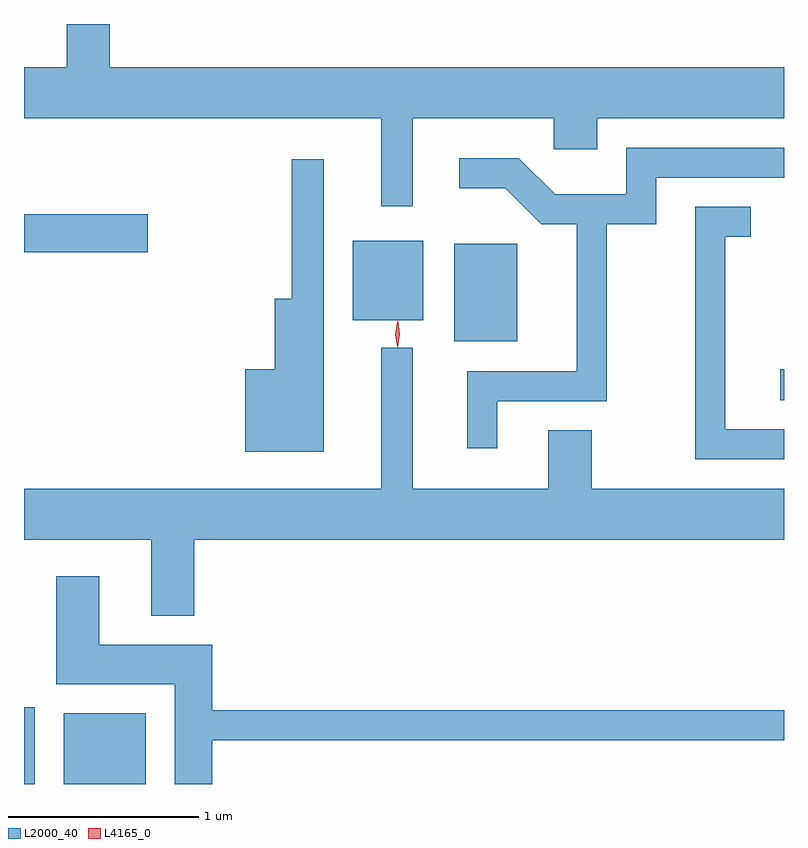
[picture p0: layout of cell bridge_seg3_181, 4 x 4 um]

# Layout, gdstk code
import gdstk
lib = gdstk.Library(unit=1e-6, precision=1e-09)
def R(c, l, rs):  # rectangles x0, y0, x1, y1
    for r in rs: c.add(gdstk.rectangle(r[:2], r[2:], *l))
def P(c, l, *ps):  # polygons
    for p in ps: c.add(gdstk.Polygon(p, *l))
L2000_40 = (2000, 40)
L4165_0 = (4165, 0)

bridge_seg3_181 = lib.new_cell('bridge_seg3_181')
R(bridge_seg3_181, L2000_40, [(887.162,1122.511,887.219,1122.914), (887.371,1122.511,887.804,1122.884), (891.143,1124.531,891.162,1124.694), (889.426,1124.841,889.759,1125.354), (888.891,1124.951,889.264,1125.369), (887.162,1125.311,887.814,1125.509)])
P(bridge_seg3_181, L2000_40, [(889.209,1126.016),(889.951,1126.016),(889.951,1125.851),(890.179,1125.851),(890.179,1126.016),(891.162,1126.016),(891.162,1126.284),(887.614,1126.284),(887.614,1126.511),(887.386,1126.511),(887.386,1126.284),(887.162,1126.284),(887.162,1126.016),(889.041,1126.016),(889.041,1125.553),(889.209,1125.553)],
  [(889.654,1124.526),(890.229,1124.526),(890.229,1125.456),(890.489,1125.456),(890.489,1125.701),(891.162,1125.701),(891.162,1125.859),(890.331,1125.859),(890.331,1125.614),(889.957,1125.614),(889.767,1125.804),(889.453,1125.804),(889.453,1125.646),(889.694,1125.646),(889.884,1125.456),(890.071,1125.456),(890.071,1124.684),(889.496,1124.684),(889.496,1124.278),(889.654,1124.278)],
  [(888.739,1125.798),(888.571,1125.798),(888.571,1125.064),(888.481,1125.064),(888.481,1124.694),(888.326,1124.694),(888.326,1124.261),(888.739,1124.261)],
  [(891.162,1124.379),(890.854,1124.379),(890.854,1125.391),(890.988,1125.391),(890.988,1125.549),(890.696,1125.549),(890.696,1124.221),(891.162,1124.221)],
  [(888.059,1123.796),(891.162,1123.796),(891.162,1124.064),(890.149,1124.064),(890.149,1124.374),(889.921,1124.374),(889.921,1124.064),(889.209,1124.064),(889.209,1124.808),(889.041,1124.808),(889.041,1124.064),(887.162,1124.064),(887.162,1123.796),(887.831,1123.796),(887.831,1123.396),(888.059,1123.396)],
  [(888.154,1122.741),(891.162,1122.741),(891.162,1122.899),(888.154,1122.899),(888.154,1123.244),(887.559,1123.244),(887.559,1123.604),(887.331,1123.604),(887.331,1123.036),(887.956,1123.036),(887.956,1122.511),(888.154,1122.511)])
P(bridge_seg3_181, L4165_0, [(889.126,1124.813),(889.117,1124.877),(889.126,1124.941),(889.127,1124.942),(889.128,1124.941),(889.137,1124.877),(889.128,1124.813),(889.127,1124.813)],
  [(889.129,1124.81),(889.12,1124.878),(889.13,1124.946),(889.13,1124.946),(889.131,1124.946),(889.14,1124.878),(889.13,1124.81),(889.13,1124.81)])

lib.write_gds('bridge_seg3_181.gds')
